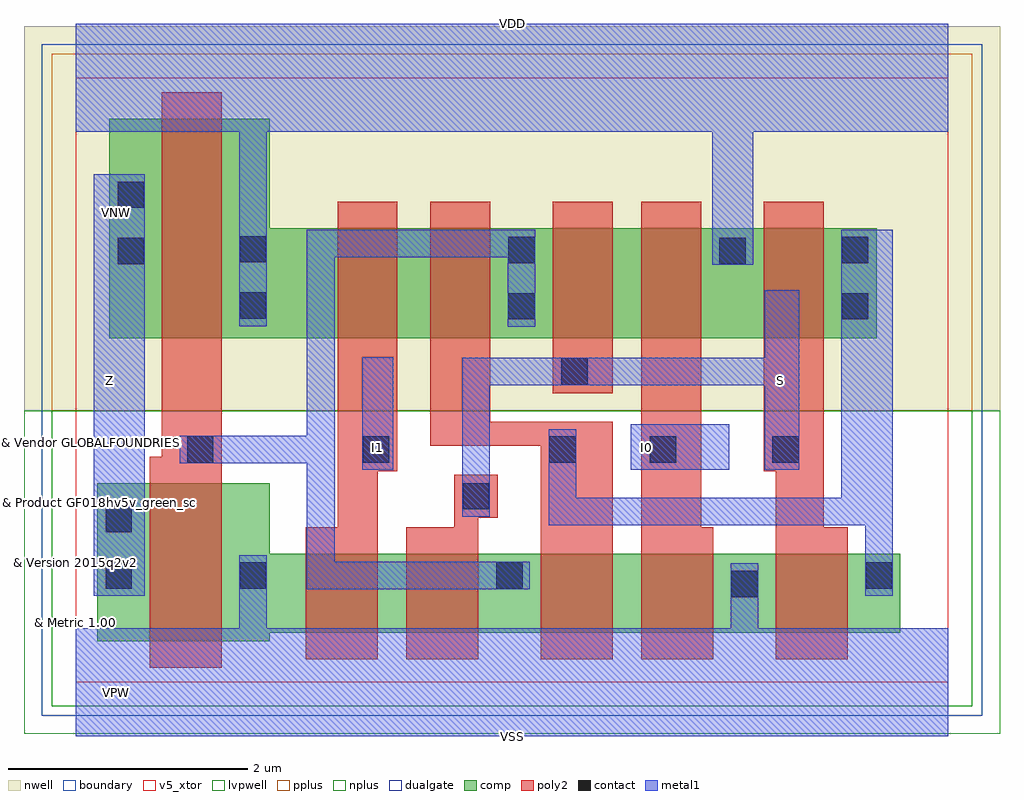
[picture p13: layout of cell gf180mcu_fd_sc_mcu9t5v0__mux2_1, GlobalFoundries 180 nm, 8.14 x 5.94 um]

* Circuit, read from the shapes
.subckt gf180mcu_fd_sc_mcu9t5v0__mux2_1 I0 I1 S VDD VNW VSS Z
XM1 VSS n1 Z VSUBS nfet_05v0 w=1.32u l=0.6u
XM2 n2 I1 VSS VSUBS nfet_05v0 w=0.66u l=0.6u
XM3 n1 S n2 VSUBS nfet_05v0 w=0.66u l=0.6u
XM4 n3 n4 n1 VSUBS nfet_05v0 w=0.66u l=0.6u
XM5 VSS I0 n3 VSUBS nfet_05v0 w=0.66u l=0.6u
XM6 n4 S VSS VSUBS nfet_05v0 w=0.66u l=0.6u
XM7 VDD n1 Z VNW pfet_05v0 w=1.83u l=0.5u
XM8 n5 I1 VDD VNW pfet_05v0 w=0.915u l=0.5u
XM9 n1 n4 n5 VNW pfet_05v0 w=0.915u l=0.5u
XM10 n6 S n1 VNW pfet_05v0 w=0.915u l=0.5u
XM11 VDD I0 n6 VNW pfet_05v0 w=0.915u l=0.5u
XM12 n4 S VDD VNW pfet_05v0 w=0.915u l=0.5u
.ends

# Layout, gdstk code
import gdstk
lib = gdstk.Library(unit=1e-6, precision=5e-10)
def R(c, l, rs):  # rectangles x0, y0, x1, y1
    for r in rs: c.add(gdstk.rectangle(r[:2], r[2:], *l))
def P(c, l, *ps):  # polygons
    for p in ps: c.add(gdstk.Polygon(p, *l))
boundary = (0, 0)
nwell = (21, 0)
comp = (22, 0)
poly2 = (30, 0)
pplus = (31, 0)
nplus = (32, 0)
contact = (33, 0)
metal1 = (34, 0)
dualgate = (55, 0)
v5_xtor = (112, 1)
lvpwell = (204, 0)

gf180mcu_fd_sc_mcu9t5v0_ = lib.new_cell('gf180mcu_fd_sc_mcu9t5v0__mux2_1')
R(gf180mcu_fd_sc_mcu9t5v0_, boundary, [(0,0,7.28,5.04)])
R(gf180mcu_fd_sc_mcu9t5v0_, nwell, [(-0.43,2.265,7.71,5.47)])
P(gf180mcu_fd_sc_mcu9t5v0_, comp, [(0.28,2.87),(0.28,4.7),(1.62,4.7),(1.62,3.785),(6.68,3.785),(6.68,2.87)],
  [(0.18,0.34),(0.18,1.66),(1.62,1.66),(1.62,1.07),(6.88,1.07),(6.88,0.41),(1.62,0.41),(1.62,0.34)])
R(gf180mcu_fd_sc_mcu9t5v0_, poly2, [(3.98,2.41,4.48,4.005)])
P(gf180mcu_fd_sc_mcu9t5v0_, poly2, [(0.62,0.12),(0.62,1.88),(0.72,1.88),(0.72,4.92),(1.22,4.92),(1.22,0.12)],
  [(1.92,0.19),(1.92,1.29),(2.185,1.29),(2.185,4.005),(2.685,4.005),(2.685,1.76),(2.52,1.76),(2.52,0.19)],
  [(2.76,0.19),(2.76,1.29),(3.16,1.29),(3.16,1.73),(3.52,1.73),(3.52,1.37),(3.36,1.37),(3.36,0.19)],
  [(3.88,0.19),(3.88,1.97),(2.96,1.97),(2.96,4.005),(3.46,4.005),(3.46,2.17),(4.48,2.17),(4.48,0.19)],
  [(4.72,0.19),(4.72,4.005),(5.22,4.005),(5.22,1.29),(5.32,1.29),(5.32,0.19)],
  [(5.84,0.19),(5.84,1.76),(5.74,1.76),(5.74,4.005),(6.24,4.005),(6.24,1.29),(6.44,1.29),(6.44,0.19)])
R(gf180mcu_fd_sc_mcu9t5v0_, pplus, [(-0.2,2.265,7.48,5.24)])
R(gf180mcu_fd_sc_mcu9t5v0_, nplus, [(-0.2,-0.2,7.48,2.265)])
R(gf180mcu_fd_sc_mcu9t5v0_, contact, [(5.47,0.71,5.69,0.93), (0.25,0.78,0.47,1), (1.37,0.78,1.59,1), (3.51,0.78,3.73,1), (6.59,0.78,6.81,1), (0.25,1.25,0.47,1.47), (3.23,1.44,3.45,1.66), (0.93,1.83,1.15,2.05), (2.395,1.83,2.615,2.05), (3.95,1.83,4.17,2.05), (4.79,1.83,5.01,2.05), (5.81,1.83,6.03,2.05), (4.05,2.48,4.27,2.7), (3.61,3.025,3.83,3.245), (6.39,3.025,6.61,3.245), (1.37,3.03,1.59,3.25), (0.35,3.485,0.57,3.705), (5.37,3.485,5.59,3.705), (3.61,3.495,3.83,3.715), (6.39,3.495,6.61,3.715), (1.37,3.5,1.59,3.72), (0.35,3.955,0.57,4.175)])
R(gf180mcu_fd_sc_mcu9t5v0_, metal1, [(0.15,0.72,0.575,4.235), (2.39,1.77,2.65,2.71), (4.63,1.77,5.45,2.15)])
P(gf180mcu_fd_sc_mcu9t5v0_, metal1, [(1.93,0.775),(1.93,1.825),(0.87,1.825),(0.87,2.055),(1.93,2.055),(1.93,3.775),(3.835,3.775),(3.835,2.965),(3.605,2.965),(3.605,3.545),(2.16,3.545),(2.16,1.005),(3.79,1.005),(3.79,0.775)],
  [(3.225,1.38),(3.225,2.705),(5.75,2.705),(5.75,3.27),(6.035,3.27),(6.035,1.77),(5.75,1.77),(5.75,2.475),(3.455,2.475),(3.455,1.38)],
  [(6.585,0.72),(6.585,1.31),(3.945,1.31),(3.945,2.11),(4.175,2.11),(4.175,1.54),(6.385,1.54),(6.385,3.775),(6.815,3.775),(6.815,0.72)],
  [(0,-0.45),(0,0.45),(1.365,0.45),(1.365,1.06),(1.595,1.06),(1.595,0.45),(5.465,0.45),(5.465,0.99),(5.695,0.99),(5.695,0.45),(7.28,0.45),(7.28,-0.45)],
  [(1.365,2.97),(1.365,4.59),(0,4.59),(0,5.49),(7.28,5.49),(7.28,4.59),(5.65,4.59),(5.65,3.48),(5.31,3.48),(5.31,4.59),(1.595,4.59),(1.595,2.97)])
R(gf180mcu_fd_sc_mcu9t5v0_, dualgate, [(-0.28,-0.28,7.56,5.32)])
R(gf180mcu_fd_sc_mcu9t5v0_, v5_xtor, [(0,0,7.28,5.04)])
R(gf180mcu_fd_sc_mcu9t5v0_, lvpwell, [(-0.43,-0.43,7.71,2.265)])
gf180mcu_fd_sc_mcu9t5v0_.add(gdstk.Label('I0', (4.76,1.96), layer=34, texttype=10))
gf180mcu_fd_sc_mcu9t5v0_.add(gdstk.Label('I1', (2.52,1.96), layer=34, texttype=10))
gf180mcu_fd_sc_mcu9t5v0_.add(gdstk.Label('S', (5.88,2.52), layer=34, texttype=10))
gf180mcu_fd_sc_mcu9t5v0_.add(gdstk.Label('VDD', (3.64,5.49), layer=34, texttype=10))
gf180mcu_fd_sc_mcu9t5v0_.add(gdstk.Label('VSS', (3.64,-0.45), layer=34, texttype=10))
gf180mcu_fd_sc_mcu9t5v0_.add(gdstk.Label('Z', (0.28,2.52), layer=34, texttype=10))
gf180mcu_fd_sc_mcu9t5v0_.add(gdstk.Label('& Vendor GLOBALFOUNDRIES', (0,2), layer=63, texttype=63))
gf180mcu_fd_sc_mcu9t5v0_.add(gdstk.Label('& Product GF018hv5v_green_sc9', (0,1.5), layer=63, texttype=63))
gf180mcu_fd_sc_mcu9t5v0_.add(gdstk.Label('& Version 2015q2v2', (0,1), layer=63, texttype=63))
gf180mcu_fd_sc_mcu9t5v0_.add(gdstk.Label('& Metric 1.00', (0,0.5), layer=63, texttype=63))
gf180mcu_fd_sc_mcu9t5v0_.add(gdstk.Label('VNW', (0.345,3.92), layer=21, texttype=10))
gf180mcu_fd_sc_mcu9t5v0_.add(gdstk.Label('VPW', (0.34,-0.085), layer=204, texttype=10))

lib.write_gds('gf180mcu_fd_sc_mcu9t5v0__mux2_1.gds')
